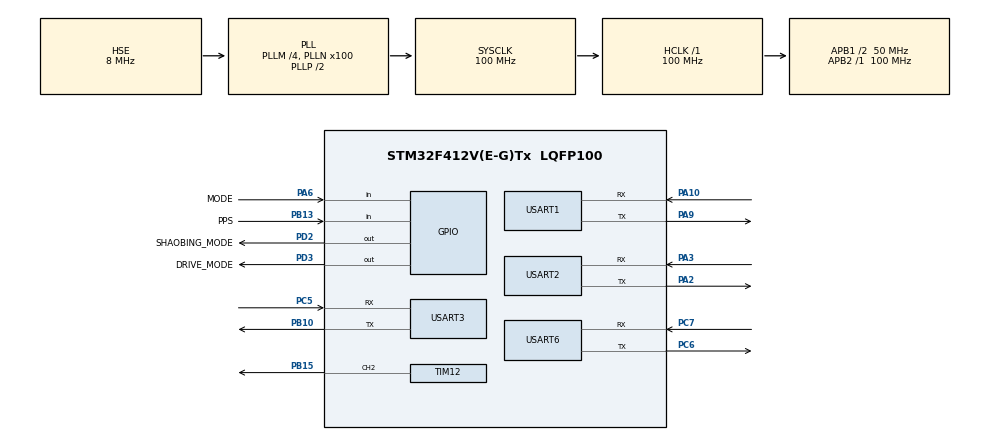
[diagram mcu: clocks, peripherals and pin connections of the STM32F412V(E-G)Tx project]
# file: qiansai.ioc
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Mcu.Family=STM32F4
Mcu.Name=STM32F412V(E-G)Tx
Mcu.Package=LQFP100
NVIC.PriorityGroup=NVIC_PRIORITYGROUP_4
NVIC.TIM1_TRG_COM_TIM11_IRQn=true\:0\:0\:false\:false\:true\:true\:true\:true
NVIC.TIM4_IRQn=true\:1\:0\:true\:false\:true\:true\:true\:true
NVIC.TIM8_TRG_COM_TIM14_IRQn=true\:0\:0\:false\:false\:true\:true\:true\:true
NVIC.TIM8_UP_TIM13_IRQn=true\:0\:0\:false\:false\:true\:true\:true\:true
NVIC.USART1_IRQn=true\:0\:0\:false\:false\:true\:true\:true\:true
NVIC.USART2_IRQn=true\:0\:0\:false\:false\:true\:true\:true\:true
NVIC.USART3_IRQn=true\:0\:0\:false\:false\:true\:true\:true\:true
NVIC.USART6_IRQn=true\:0\:0\:false\:false\:true\:true\:true\:true
PA10.Mode=Asynchronous
PA10.Signal=USART1_RX
PA13.Mode=Serial_Wire
PA13.Signal=SYS_JTMS-SWDIO
PA14.Mode=Serial_Wire
PA14.Signal=SYS_JTCK-SWCLK
PA2.Mode=Asynchronous
PA2.Signal=USART2_TX
PA3.Mode=Asynchronous
PA3.Signal=USART2_RX
PA6.GPIO_Label=MODE
PA6.GPIO_PuPd=GPIO_PULLUP
PA6.Signal=GPIO_Input
PA9.Mode=Asynchronous
PA9.Signal=USART1_TX
PB10.Mode=Asynchronous
PB10.Signal=USART3_TX
PB13.GPIO_Label=PPS
PB13.Signal=GPIO_Input
PB15.Signal=S_TIM12_CH2
PC5.Mode=Asynchronous
PC5.Signal=USART3_RX
PC6.Mode=Asynchronous
PC6.Signal=USART6_TX
PC7.Mode=Asynchronous
PC7.Signal=USART6_RX
PD2.GPIO_Label=SHAOBING_MODE
PD2.PinState=GPIO_PIN_SET
PD2.Signal=GPIO_Output
PD3.GPIO_Label=DRIVE_MODE
PD3.PinState=GPIO_PIN_SET
PD3.Signal=GPIO_Output
PH0\ -\ OSC_IN.Mode=HSE-External-Oscillator
PH0\ -\ OSC_IN.Signal=RCC_OSC_IN
PH1\ -\ OSC_OUT.Mode=HSE-External-Oscillator
PH1\ -\ OSC_OUT.Signal=RCC_OSC_OUT
ProjectManager.HeapSize=0x200
ProjectManager.StackSize=0x400
ProjectManager.TargetToolchain=MDK-ARM V5.32
RCC.AHBFreq_Value=100000000
RCC.APB1CLKDivider=RCC_HCLK_DIV2
RCC.APB1Freq_Value=50000000
RCC.APB1TimFreq_Value=100000000
RCC.APB2Freq_Value=100000000
RCC.APB2TimFreq_Value=100000000
RCC.CortexFreq_Value=100000000
RCC.HCLKFreq_Value=100000000
RCC.HSE_VALUE=8000000
RCC.PLLM=4
RCC.PLLN=100
RCC.PLLSourceVirtual=RCC_PLLSOURCE_HSE
RCC.SYSCLKFreq_VALUE=100000000
RCC.SYSCLKSource=RCC_SYSCLKSOURCE_PLLCLK
RCC.USBFreq_Value=100000000
RCC.VCOOutputFreq_Value=200000000
SH.S_TIM12_CH2.0=TIM12_CH2,PWM Generation2 CH2
TIM11.Period=10000-1
TIM11.Prescaler=100-1
TIM12.Channel-PWM\ Generation2\ CH2=TIM_CHANNEL_2
TIM12.Period=1000-1
TIM12.Prescaler=10000-1
TIM13.Period=1000-1
TIM13.Prescaler=10000-1
TIM14.Period=10000-1
TIM14.Prescaler=10000-1
TIM4.Period=10000-1
TIM4.Prescaler=100-1
USART1.VirtualMode=VM_ASYNC
USART2.VirtualMode=VM_ASYNC
USART3.VirtualMode=VM_ASYNC
USART6.VirtualMode=VM_ASYNC
VP_TIM11_VS_ClockSourceINT.Mode=Enable_Timer
VP_TIM13_VS_ClockSourceINT.Mode=Enable_Timer
VP_TIM14_VS_ClockSourceINT.Mode=Enable_Timer
VP_TIM4_VS_ClockSourceINT.Mode=Internal
board=custom

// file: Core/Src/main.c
/* USER CODE BEGIN Header */
/**
  ******************************************************************************
  * @file           : main.c
  * @brief          : Main program body
  ******************************************************************************
  * @attention
  *
  * Copyright (c) 2025 STMicroelectronics.
  * All rights reserved.
  *
  * This software is licensed under terms that can be found in the LICENSE file
  * in the root directory of this software component.
  * If no LICENSE file comes with this software, it is provided AS-IS.
  *
  ******************************************************************************
  */
/* USER CODE END Header */
#include "main.h"
#include "tim.h"
#include "usart.h"
#include "gpio.h"

/* USER CODE BEGIN Includes */
#include "esp8266.h"
#include "stdbool.h"
/* USER CODE END Includes */

/* USER CODE BEGIN PTD */
uint8_t rx1[50];
int rx1_ok = 0;
int rx1_count = 0;

uint8_t rx2[256];
int rx2_ok = 0;
int rx2_count = 0;

uint8_t rx3[2][150];
uint8_t tx3_0_5s[]={"$PCAS02,1000*2E\r\n"};
uint8_t tx3_GNNS[]={"$PCAS04,7*1E\r\n"};
uint8_t tx3_vtg_gga[]={"$PCAS03,1,0,0,0,0,1,0,0,0,0,,,0,0,,,,0*32\r\n"};
uint8_t tx[20]={'\0'};
int rx3_ok = 0;
int rx3_count = 0;
int32_t speed = 0;//速度
uint8_t position[30];//经纬度存储数组
int N_num = 0,K_num = 0;
int gps_ok = 1;
int pps = 0;
int jingdu = 10240,weidu = 2212,jingdu_poi = 55136,weidu_poi = 39661;
double weidu_real = 0,jingdu_real = 0;
double weidu_real2 = 0,jingdu_real2 = 0;
uint8_t rx6[50];
int rx6_ok = 0;
int rx6_count = 0;
int32_t juli = 0;

int mode = 0;//0摄像头，1雷达״�
int a = 0;
int F_beep = 10;
int key_long = 0;
int time = 0;
int tim13_ok = 0;
bool beep_mode=0;
/* USER CODE END PTD */

/* USER CODE BEGIN PD */
#define uint unsigned int
#define uchar unsigned char

struct keys
{
	unsigned char judge_sta;
	bool key_sta;
	bool single_flag;
	bool long_flag;
	unsigned int key_time;
};
struct keys key[4];

struct keys key[4]={0};

void HAL_TIM_PeriodElapsedCallback(TIM_HandleTypeDef *htim)
{
	if(htim->Instance==TIM13)
	{
		tim13_ok = 1;
	}
	if(htim->Instance==TIM11)
	{
		 key[0].key_sta=HAL_GPIO_ReadPin(GPIOA,GPIO_PIN_6);
//		 key[1].key_sta=HAL_GPIO_ReadPin(GPIOB,GPIO_PIN_1);
//		 key[2].key_sta=HAL_GPIO_ReadPin(GPIOB,GPIO_PIN_2);
//		 key[3].key_sta=HAL_GPIO_ReadPin(GPIOA,GPIO_PIN_0);

		for(uchar i=0;i<4;i++)	   //????4??????
		{
			//break????switch??????????4??for????????????????10ms???ж???????????????????????????????ó????????????????10m
			switch(key[i].judge_sta)
			{
				case 0:
				{
					if(key[i].key_sta==0) //???key[i].key_sta==0?????????￡???????????????????
					{
						key[i].judge_sta=1;
						key[i].key_time=0;
					}
					break;
				}
				case 1:
				{
					if(key[i].key_sta==0) 	 //???10ms???ж????0????????????
					{
						key[i].judge_sta=2;  //??????????ж?????
					}
					else
					{
						key[i].judge_sta=0;
					}
					break;
				}
				case 2:
				{
					if(key[i].key_sta==1) 	 //?????1????????????????
					{
						key[i].judge_sta=0;  //????????
						if(key[i].key_time<=50)
						{
							key[i].single_flag=1;//???λ??1
						}
					}
					else
					{
						key[i].key_time++;
						if(key[i].key_time>50) //???????3???700ms???ж???????????10ms?????Σ??????????70
						{
							key[i].long_flag=1;
						}
					}
				}
				break;
			}
		}
	}
}

/* USER CODE END PD */

/* USER CODE BEGIN PM */
int32_t dist1=23;
uint8_t k210_rx[20],k210_rx_length=0,k210_rx_ok=0;
uint8_t k210_warning=0;
//put into main that init of k210
void k210_init(UART_HandleTypeDef *huart)
{
	__HAL_UART_ENABLE_IT(huart,UART_IT_IDLE);
	__HAL_UART_ENABLE_IT(huart,UART_IT_RXNE);
}
//put into USARTX_IRQHandler that interrupt of uart
void k210_uart_interrupt(UART_HandleTypeDef *huart, uint8_t rx_buffer[],uint8_t *rx_length, uint8_t *rx_ok)
{
	if(__HAL_UART_GET_FLAG(huart,UART_FLAG_RXNE)!=0)
	{
		if(*rx_length==0)	memset((char *)rx_buffer,'\0',20);
		HAL_UART_Receive(huart,&rx_buffer[*rx_length],1,HAL_MAX_DELAY);
		__HAL_UART_CLEAR_FLAG(huart,UART_FLAG_RXNE);
		uint8_t i;
		i=*rx_length;
		i++;
		*rx_length=i;
	}
	if(__HAL_UART_GET_FLAG(huart,UART_FLAG_IDLE)!=0)
	{
		if(*rx_ok==0) *rx_ok=1;
		*rx_length=0;
		__HAL_UART_CLEAR_FLAG(huart,UART_FLAG_IDLE);
	}
}
//this is used to stm32 receive information of k210 by useing uart
//temp is 1 that sentinel mode warning
//temp is 2 that nomoral mode mild warning
//temp is 3 that nomoral mode severe warning
void k210_uart_receive(uint8_t rx_buffer[], uint8_t *rx_ok, uint8_t *temp)
{
	uint8_t flag=*rx_ok;
	if(flag)
	{
		flag=0;
		if(strcmp((char *)rx_buffer,"Car")==0)
		{
			*temp=1;
		}
		if(strcmp((char *)rx_buffer,"car")==0)
		{
			*temp=2;
		}
		if(strcmp((char *)rx_buffer,"CAR")==0)
		{
			*temp=3;
		}
	}
}
//this is used to convert the K210 mode
void k210_transform_mode(UART_HandleTypeDef *huart)
{
	uint8_t text[20];
	sprintf((char *)text,"mod");
	HAL_UART_Transmit(huart,text,strlen((char *)text),HAL_MAX_DELAY);
}

//void HAL_TIM_PeriodElapsedCallback(TIM_HandleTypeDef *htim)
//{
//	if(htim->Instance==TIM14)
//	{
//		key_long = 1;
//		if(mode == 0)--
//			mode = 1;
//		else if(mode == 1)
//			mode = 0;
//		HAL_TIM_Base_Stop_IT(&htim14);
//	}
//	if(htim->Instance==TIM13)
//	{
//		tim13_ok = 1;
//	}
//}

/* USER CODE END PM */

void SystemClock_Config(void);

/* USER CODE BEGIN 0 */
int fputc(int ch, FILE *f)
{
  HAL_UART_Transmit(&huart1,(unsigned char*)&ch,1,50);
  return ch;
}
/* USER CODE END 0 */

int main(void)
{

  /* MCU Configuration--------------------------------------------------------*/

  /* Reset of all peripherals, Initializes the Flash interface and the Systick. */
  HAL_Init();

  /* Configure the system clock */
  SystemClock_Config();

  /* Initialize all configured peripherals */
  MX_GPIO_Init();
  MX_TIM12_Init();
  MX_USART1_UART_Init();
  MX_USART2_UART_Init();
  MX_USART3_UART_Init();
  MX_USART6_UART_Init();
  MX_TIM13_Init();
  MX_TIM14_Init();
  MX_TIM4_Init();
  MX_TIM11_Init();
  /* USER CODE BEGIN 2 */
//  HAL_GPIO_WritePin(GPIOD,GPIO_PIN_2,GPIO_PIN_RESET);
	HAL_TIM_Base_Start_IT(&htim13);
	HAL_TIM_Base_Start_IT(&htim11);
	HAL_TIM_PWM_Start(&htim12,TIM_CHANNEL_2);
	HAL_TIM_Base_Start_IT(&htim14);
	__HAL_UART_ENABLE_IT(&huart1,UART_IT_RXNE);
	__HAL_UART_ENABLE_IT(&huart1,UART_IT_IDLE);
	__HAL_UART_ENABLE_IT(&huart2,UART_IT_RXNE);
	__HAL_UART_ENABLE_IT(&huart2,UART_IT_IDLE);
	__HAL_UART_ENABLE_IT(&huart3,UART_IT_RXNE);
	__HAL_UART_ENABLE_IT(&huart3,UART_IT_IDLE);
	__HAL_UART_ENABLE_IT(&huart6,UART_IT_RXNE);
	__HAL_UART_ENABLE_IT(&huart6,UART_IT_IDLE);
	__HAL_TIM_CLEAR_IT(&htim14,TIM_IT_UPDATE);
	printf("666");
//	HAL_UART_Receive_IT(&huart6,&rx6,1);  //串口接收初始化
	HAL_Delay(500);
	HAL_UART_Transmit(&huart3,tx3_vtg_gga,sizeof(tx3_vtg_gga)-1,100);
	HAL_Delay(500);
	HAL_UART_Transmit(&huart3,tx3_GNNS,sizeof(tx3_GNNS)-1,100);
	HAL_Delay(500);
	HAL_UART_Transmit(&huart3,tx3_0_5s,sizeof(tx3_0_5s)-1,100);
	ESP_Init();
  /* USER CODE END 2 */

  /* Infinite loop */
  /* USER CODE BEGIN WHILE */
//  k210_init(&huart1);
	HAL_GPIO_TogglePin(GPIOD,GPIO_PIN_3);
  while (1)
  {

		k210_warning = 0;
		memset((char *)k210_rx,'\0',20);
		k210_uart_receive(k210_rx,&k210_rx_ok,&k210_warning);
    /* USER CODE END WHILE */

    /* USER CODE BEGIN 3 */
		////////////////////////////////////////////////////////////////////////////////////////////////
		//wifi
//			HAL_GPIO_TogglePin(GPIOD,GPIO_PIN_2);

	  if(tim13_ok == 1)
		{
			tim13_ok = 0;
			Esp_PUB(juli,44,mode,weidu_real2,jingdu_real2,speed,time++);
//			Esp_PUB(888,44,mode,33.666666,333.333333,128,time++);
			if(time > 6)
			time = 0;
			HAL_Delay(100);
		}
		////////////////////////////////////////////////////////////////////////////////////////////////
		//蜂鸣器警报
		if(mode==0)
		{

			if(k210_warning == 1)
			{
				F_beep = 2;
				__HAL_TIM_SetAutoreload(&htim12,10000/F_beep);
				__HAL_TIM_SET_COMPARE(&htim12,TIM_CHANNEL_2,(10000/F_beep)*0.5);
				HAL_TIM_PWM_Start(&htim12,TIM_CHANNEL_2);
			}
			else if(k210_warning == 2)
			{
				F_beep = 5;
				__HAL_TIM_SetAutoreload(&htim12,10000/F_beep);
				__HAL_TIM_SET_COMPARE(&htim12,TIM_CHANNEL_2,(10000/F_beep)*0.5);
				HAL_TIM_PWM_Start(&htim12,TIM_CHANNEL_2);
			}
			else if(k210_warning == 3)
			{
				F_beep = 10;

				__HAL_TIM_SetAutoreload(&htim12,10000/F_beep);
				__HAL_TIM_SET_COMPARE(&htim12,TIM_CHANNEL_2,(10000/F_beep)*0.5);
				HAL_TIM_PWM_Start(&htim12,TIM_CHANNEL_2);
			}
			else if(k210_warning == 0)
			{
				HAL_TIM_PWM_Stop(&htim12,TIM_CHANNEL_2);
				__HAL_TIM_SET_COMPARE(&htim12,TIM_CHANNEL_2,0);
			}
			//k210_warning = 0;
			//memset((char *)k210_rx,'\0',20);
		}
		else if(mode == 1)
		{
			HAL_TIM_PWM_Start(&htim12,TIM_CHANNEL_2);
			if(juli>=250)
			{
				__HAL_TIM_SET_COMPARE(&htim12,TIM_CHANNEL_2,0);
			}
			else if(juli>=200&&juli<250)
			{
				F_beep = 1;
			}
			else if(juli>=150&&juli<200)
			{
				F_beep = 3;
			}
			else if(juli>=100&&juli<150)
			{
				F_beep = 5;
			}
			else if(juli>=50&&juli<100)
			{
				F_beep = 7;
			}
			else if(juli>=0&&juli<50)
			{
				F_beep = 9;
			}
		}
		__HAL_TIM_SetAutoreload(&htim12,10000/F_beep);
		__HAL_TIM_SET_COMPARE(&htim12,TIM_CHANNEL_2,(10000/F_beep)*0.5);
		HAL_Delay(500);

		if(beep_mode==1)
		{
			F_beep = 5;
			__HAL_TIM_SetAutoreload(&htim12,10000/F_beep);
			__HAL_TIM_SET_COMPARE(&htim12,TIM_CHANNEL_2,(10000/F_beep)*0.5);
			HAL_TIM_PWM_Start(&htim12,TIM_CHANNEL_2);
		}
		else if(beep_mode==0)
		{
			HAL_TIM_PWM_Stop(&htim12,TIM_CHANNEL_2);
			__HAL_TIM_SET_COMPARE(&htim12,TIM_CHANNEL_2,0);
		}
////		else if(mode == 1)
////		{
////			__HAL_TIM_SET_COMPARE(&htim12,TIM_CHANNEL_2,0);
////			HAL_TIM_PWM_Stop(&htim12,TIM_CHANNEL_2);
////		}
////		else if(juli>=0&&juli<200)
////		{
////			F_beep = -(19.0/169.0)*juli+(3950.0/169.0);
////		}
		////////////////////////////////////////////////////////////////////////////////////////////////
		//模式灯
		if(mode == 0)
		{
			HAL_GPIO_WritePin(SHAOBING_MODE_GPIO_Port, SHAOBING_MODE_Pin, GPIO_PIN_SET);
			HAL_GPIO_WritePin(DRIVE_MODE_GPIO_Port, DRIVE_MODE_Pin, GPIO_PIN_RESET);
		}
		else if(mode == 1)
		{
			HAL_GPIO_WritePin(SHAOBING_MODE_GPIO_Port, SHAOBING_MODE_Pin, GPIO_PIN_RESET);
			HAL_GPIO_WritePin(DRIVE_MODE_GPIO_Port, DRIVE_MODE_Pin, GPIO_PIN_SET);
		}
		////////////////////////////////////////////////////////////////////////////////////////////////
		//模式切换按键
//		if(HAL_GPIO_ReadPin(MODE_GPIO_Port,MODE_Pin)==0&&a==0)
//		{
//			__HAL_TIM_SET_COUNTER(&htim14,0);
//			HAL_TIM_Base_Start_IT(&htim14);
//			a = 1;
//		}
//		else if(HAL_GPIO_ReadPin(MODE_GPIO_Port,MODE_Pin)==1&&a==1)
//		{
//			HAL_TIM_Base_Stop_IT(&htim14);
//			if(key_long==0)
//				k210_transform_mode(&huart1);
//			else if(key_long==1)
//				key_long = 0;
//			a = 0;
//		}
		if(key[0].single_flag==1)
		{
			k210_transform_mode(&huart1);
//			beep_mode=!beep_mode;
//			HAL_GPIO_TogglePin(GPIOD,GPIO_PIN_2);
//			HAL_GPIO_TogglePin(GPIOD,GPIO_PIN_3);
			key[0].single_flag=0;
		}
		if(key[0].long_flag==1)
		{
			mode=!mode;
//			HAL_GPIO_TogglePin(GPIOD,GPIO_PIN_2);
//			HAL_GPIO_TogglePin(GPIOD,GPIO_PIN_3);
			key[0].long_flag=0;
		}

		////////////////////////////////////////////////////////////////////////////////////////////////
		//K210，串口1
		if(k210_rx_ok == 1)
		{

		}
		////////////////////////////////////////////////////////////////////////////////////////////////
		//GPS，串口3
		if(rx3_ok==1)
		{
			rx3_ok = 0;
			if(rx3[0][N_num+7]=='K')
			{
				speed = rx3[0][N_num+2]-48;
				sprintf((char*)tx,"%dkm/h",speed);
				HAL_UART_Transmit(&huart1,tx,5,100);
			}
			else if(rx3[0][N_num+8]=='K')
			{
				speed = (rx3[0][N_num+2]-48)*10+(rx3[0][N_num+3]-48);
				sprintf((char*)tx,"%dkm/h",speed);
				HAL_UART_Transmit(&huart1,tx,6,100);
			}
			else if(rx3[0][N_num+9]=='K')
			{
				speed = (rx3[0][N_num+2]-48)*100+(rx3[0][N_num+3]-48)*10+(rx3[0][N_num+4]-48);
				sprintf((char*)tx,"%dkm/h",speed);
				HAL_UART_Transmit(&huart1,tx,7,100);
			}
			if(rx3[1][1]=='G'&&rx3[1][2]=='N'&&rx3[1][3]=='G'&&rx3[1][4]=='G'&&rx3[1][5]=='A')
			{
				for(int i = 18;i<44;i++)
				{
					position[i-18] = rx3[1][i];
				}
				sscanf((char*)position,"%d.%d,N,%d.%d,E",&weidu,&weidu_poi,&jingdu,&jingdu_poi);
				weidu_real = (weidu/10%10*10+weidu%10)+(weidu_poi/100000.0);
				jingdu_real = (jingdu/10%10*10+jingdu%10)+(weidu_poi/100000.0);
				weidu_real2 = (weidu/100+weidu_real/60.0);
				jingdu_real2 = (jingdu/100+jingdu_real/60.0);
				//HAL_UART_Transmit(&huart2,position,30,100);
			}
		}
		////////////////////////////////////////////////////////////////////////////////////////////////
		//雷达，串口6
		if(rx6_ok==1)
		{
			rx6_ok = 0;
			juli = rx6[4]*256 + rx6[3];
			juli = 100;
			printf("%d\n",juli);
		}
    /* USER CODE END WHILE */

    /* USER CODE BEGIN 3 */
  }
  /* USER CODE END 3 */
}

void SystemClock_Config(void)
{
  RCC_OscInitTypeDef RCC_OscInitStruct = {0};
  RCC_ClkInitTypeDef RCC_ClkInitStruct = {0};

  /** Configure the main internal regulator output voltage
  */
  __HAL_RCC_PWR_CLK_ENABLE();
  __HAL_PWR_VOLTAGESCALING_CONFIG(PWR_REGULATOR_VOLTAGE_SCALE1);

  /** Initializes the RCC Oscillators according to the specified parameters
  * in the RCC_OscInitTypeDef structure.
  */
  RCC_OscInitStruct.OscillatorType = RCC_OSCILLATORTYPE_HSE;
  RCC_OscInitStruct.HSEState = RCC_HSE_ON;
  RCC_OscInitStruct.PLL.PLLState = RCC_PLL_ON;
  RCC_OscInitStruct.PLL.PLLSource = RCC_PLLSOURCE_HSE;
  RCC_OscInitStruct.PLL.PLLM = 4;
  RCC_OscInitStruct.PLL.PLLN = 100;
  RCC_OscInitStruct.PLL.PLLP = RCC_PLLP_DIV2;
  RCC_OscInitStruct.PLL.PLLQ = 2;
  RCC_OscInitStruct.PLL.PLLR = 2;
  if (HAL_RCC_OscConfig(&RCC_OscInitStruct) != HAL_OK)
  {
    Error_Handler();
  }

  /** Initializes the CPU, AHB and APB buses clocks
  */
  RCC_ClkInitStruct.ClockType = RCC_CLOCKTYPE_HCLK|RCC_CLOCKTYPE_SYSCLK
                              |RCC_CLOCKTYPE_PCLK1|RCC_CLOCKTYPE_PCLK2;
  RCC_ClkInitStruct.SYSCLKSource = RCC_SYSCLKSOURCE_PLLCLK;
  RCC_ClkInitStruct.AHBCLKDivider = RCC_SYSCLK_DIV1;
  RCC_ClkInitStruct.APB1CLKDivider = RCC_HCLK_DIV2;
  RCC_ClkInitStruct.APB2CLKDivider = RCC_HCLK_DIV1;

  if (HAL_RCC_ClockConfig(&RCC_ClkInitStruct, FLASH_LATENCY_3) != HAL_OK)
  {
    Error_Handler();
  }
}

void Error_Handler(void)
{
  __disable_irq();
  while (1)
  {
  }
}
